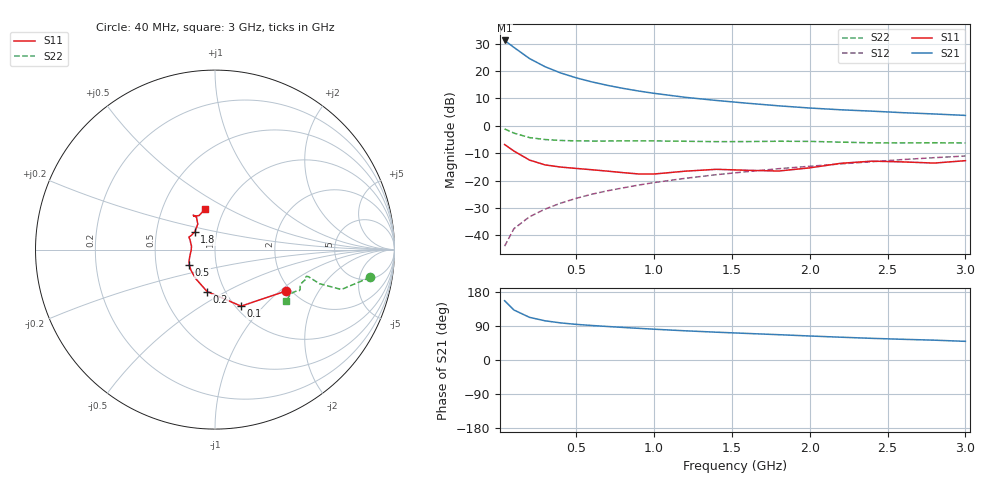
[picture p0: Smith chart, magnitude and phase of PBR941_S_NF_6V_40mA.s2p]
! Filename:  PBR941R.S2P  Version:  3.0
! Philips part #:  PBR941  Date: July 1998
! Bias condition:  Vce=6V, Ic=40mA
#  MHz  S  MA  R 50
! Freq  S11  S21  S12  S22
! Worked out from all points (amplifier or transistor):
!   21 points, 40 MHz to 3 GHz, reference 50 ohm
!   highest |S21| = 31.2 dB at 40 MHz (marker M1)
!   |S21| within 3 dB of that: start of sweep to 111.4 MHz
!   unconditionally stable (mu >= 1): 300.7 MHz to 2.386 GHz
!   at 300 MHz: K = 1.00, MSG = 26.0 dB, |S12| = -30.4 dB
!   at 1 GHz: K = 1.08, MAG = 14.5 dB, |S12| = -20.7 dB
!   at 3 GHz: K = 0.98, MSG = 7.4 dB, |S12| = -11.0 dB
!   lowest NFmin = 3.26 dB at 900 MHz
!   S11 on the Smith chart (normalised r, x): 40 MHz: 1.88, -1.10; 100 MHz: 1.06, -0.76; 200 MHz: 0.82, -0.41; 500 MHz: 0.74, -0.13; 1.8 GHz: 0.78, +0.16; 3 GHz: 0.81, +0.39
40  0.4568 -30.4  36.27 156.4  0.00637 75.9  0.8786 -10.1
100  0.347 -65.2  27.08 131.9  0.01331 72.9  0.7385 -17.5
200  0.2376 -100.7  16.95 112.5  0.02192 72.2  0.6113 -18.1
300  0.1941 -123.8  12.03 103.4  0.03029 76.5  0.5632 -16.8
400  0.177 -139.0  9.254 97.9  0.03884 78.0  0.5419 -16.2
500  0.1673 -149.1  7.537 94.0  0.04759 79.6  0.5323 -16.2
600  0.1583 -156.0  6.358 91.1  0.05656 80.4  0.5294 -16.5
700  0.1492 -161.8  5.501 88.5  0.06529 81.1  0.5295 -16.9
800  0.1402 -169.6  4.846 86.0  0.07373 81.6  0.5321 -17.3
900  0.1326 -178.5  4.332 83.6  0.08304 81.7  0.5329 -17.8
1000  0.1322 171.9  3.93 81.3  0.09237 81.7  0.5315 -18.3
1200  0.149 159.0  3.324 77.0  0.1103 81.4  0.5239 -19.6
1400  0.1611 154.3  2.913 73.4  0.1285 81.0  0.5153 -21.7
1600  0.1546 150.0  2.59 70.1  0.1463 80.8  0.5172 -23.7
1800  0.1499 138.5  2.324 66.8  0.1653 80.4  0.5242 -25.2
2000  0.1712 124.0  2.119 63.3  0.1831 79.6  0.5212 -26.1
2200  0.2075 119.8  1.967 60.2  0.2025 78.7  0.5051 -27.4
2400  0.2272 122.1  1.858 57.1  0.2219 77.9  0.4903 -30.0
2600  0.2199 122.5  1.741 54.6  0.2431 77.3  0.4874 -33.0
2800  0.2095 115.0  1.649 52.3  0.2628 76.3  0.4924 -35.1
3000  0.2317 103.8  1.553 49.2  0.2818 75.1  0.4863 -35.9
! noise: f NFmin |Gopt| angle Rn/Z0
500  3.305  0.152  -161.6  0.252
900  3.262  0.594  -149.7  0.074
1000  3.717  0.265  -142.7  0.298
2000  4.767  0.387  -108.2  0.774
